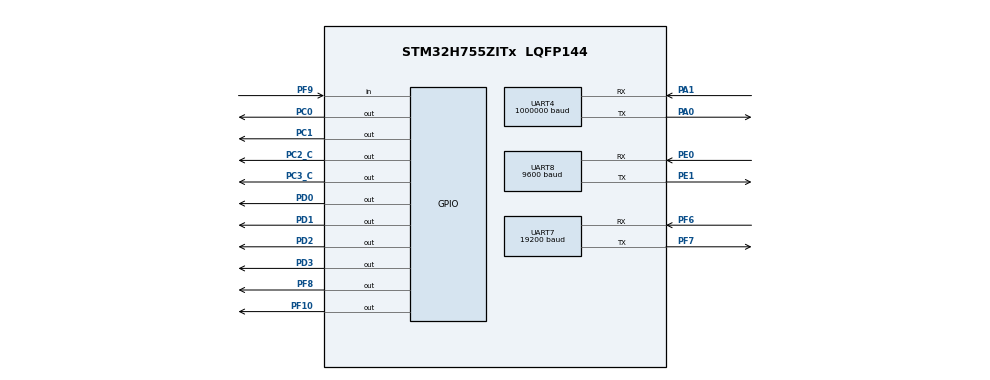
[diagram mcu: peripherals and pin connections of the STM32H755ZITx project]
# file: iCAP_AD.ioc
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CORTEX_M7.default_mode_Activation=1
CortexM4.IPs=CORTEX_M4\:I,FATFS_M4\:I,FREERTOS_M4\:I,IWDG2\:I,OPENAMP_M4\:I,PDM2PCM_M4\:I,PWR,RCC,RESMGR_UTILITY,SYS_M4\:I,USB_DEVICE_M4\:I,USB_HOST_M4\:I,VREFBUF,WWDG2\:I,GPIO,DMA,BDMA,MDMA,NVIC2\:I
CortexM7.IPs=CORTEX_M7\:I,FATFS_M7\:I,FREERTOS_M7\:I,IWDG1\:I,OPENAMP_M7\:I,PDM2PCM_M7\:I,PWR\:I,RCC\:I,RESMGR_UTILITY\:I,SYS\:I,USB_DEVICE_M7\:I,USB_HOST_M7\:I,VREFBUF\:I,WWDG1\:I,GPIO\:I,DMA\:I,BDMA\:I,MDMA\:I,NVIC1\:I,UART7\:I,UART4\:I,UART8\:I
CortexM7.Pins=PF8,PF9,PF10,PC0,PC1,PC2_C,PC3_C,PD0,PD1,PD2,PD3
Dma.Request0=UART4_RX
Dma.UART4_RX.0.Direction=DMA_PERIPH_TO_MEMORY
Dma.UART4_RX.0.EventEnable=DISABLE
Dma.UART4_RX.0.FIFOMode=DMA_FIFOMODE_DISABLE
Dma.UART4_RX.0.Instance=DMA1_Stream0
Dma.UART4_RX.0.MemDataAlignment=DMA_MDATAALIGN_BYTE
Dma.UART4_RX.0.MemInc=DMA_MINC_ENABLE
Dma.UART4_RX.0.Mode=DMA_CIRCULAR
Dma.UART4_RX.0.PeriphDataAlignment=DMA_PDATAALIGN_BYTE
Dma.UART4_RX.0.PeriphInc=DMA_PINC_DISABLE
Dma.UART4_RX.0.Polarity=HAL_DMAMUX_REQ_GEN_RISING
Dma.UART4_RX.0.Priority=DMA_PRIORITY_LOW
Dma.UART4_RX.0.RequestNumber=1
Dma.UART4_RX.0.SignalID=NONE
Dma.UART4_RX.0.SyncEnable=DISABLE
Dma.UART4_RX.0.SyncPolarity=HAL_DMAMUX_SYNC_NO_EVENT
Dma.UART4_RX.0.SyncRequestNumber=1
Dma.UART4_RX.0.SyncSignalID=NONE
Mcu.Family=STM32H7
Mcu.Name=STM32H755ZITx
Mcu.Package=LQFP144
NVIC1.DMA1_Stream0_IRQn=true\:0\:0\:false\:false\:true\:false\:true\:true
NVIC1.PriorityGroup=NVIC_PRIORITYGROUP_4
NVIC1.UART4_IRQn=true\:0\:0\:false\:false\:true\:true\:true\:true
NVIC1.UART7_IRQn=true\:0\:0\:false\:false\:true\:true\:true\:true
NVIC1.UART8_IRQn=true\:0\:0\:false\:false\:true\:true\:true\:true
NVIC2.PriorityGroup=NVIC_PRIORITYGROUP_4
PA0.Mode=Asynchronous
PA0.PinAttribute=CortexM7
PA0.Signal=UART4_TX
PA1.Mode=Asynchronous
PA1.PinAttribute=CortexM7
PA1.Signal=UART4_RX
PC0.PinAttribute=CortexM7
PC0.Signal=GPIO_Output
PC1.PinAttribute=CortexM7
PC1.Signal=GPIO_Output
PC2_C.PinAttribute=CortexM7
PC2_C.Signal=GPIO_Output
PC3_C.PinAttribute=CortexM7
PC3_C.Signal=GPIO_Output
PD0.PinAttribute=CortexM7
PD0.Signal=GPIO_Output
PD1.PinAttribute=CortexM7
PD1.Signal=GPIO_Output
PD2.PinAttribute=CortexM7
PD2.Signal=GPIO_Output
PD3.PinAttribute=CortexM7
PD3.Signal=GPIO_Output
PE0.Mode=Asynchronous
PE0.PinAttribute=CortexM7
PE0.Signal=UART8_RX
PE1.Mode=Asynchronous
PE1.PinAttribute=CortexM7
PE1.Signal=UART8_TX
PF10.PinAttribute=CortexM7
PF10.Signal=GPIO_Output
PF6.Mode=Asynchronous
PF6.PinAttribute=CortexM7
PF6.Signal=UART7_RX
PF7.Mode=Asynchronous
PF7.PinAttribute=CortexM7
PF7.Signal=UART7_TX
PF8.PinAttribute=CortexM7
PF8.Signal=GPIO_Output
PF9.PinAttribute=CortexM7
PF9.Signal=GPIO_Input
ProjectManager.HeapSize=M4-0x200,M7-0x200
ProjectManager.StackSize=M4-0x400,M7-0x400
ProjectManager.TargetToolchain=STM32CubeIDE
RCC.ADCFreq_Value=64500000
RCC.APB1Freq_Value=16000000
RCC.APB2Freq_Value=32000000
RCC.APB3Freq_Value=32000000
RCC.APB4Freq_Value=32000000
RCC.CortexFreq_Value=32000000
RCC.D2PPRE1=RCC_APB1_DIV2
RCC.HCLKFreq_Value=32000000
RCC.HSIDiv=RCC_PLLSAIDIVR_2
RCC.SYSCLKFreq_VALUE=32000000
RCC.USBFreq_Value=64500000
SYS.userName=SYS_M7
UART4.BaudRate=1000000
UART4.Mode=MODE_RX
UART7.BaudRate=19200
UART8.BaudRate=9600
VP_SYS_M4_VS_Systick.Mode=SysTick
board=custom

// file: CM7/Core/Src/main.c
/* USER CODE BEGIN Header */
/**
  ******************************************************************************
  * @file           : main.c
  * @brief          : Main program body
  ******************************************************************************
  * @attention
  *
  * Copyright (c) 2026 STMicroelectronics.
  * All rights reserved.
  *
  * This software is licensed under terms that can be found in the LICENSE file
  * in the root directory of this software component.
  * If no LICENSE file comes with this software, it is provided AS-IS.
  *
  ******************************************************************************
  */
/* USER CODE END Header */
#include "main.h"

/* USER CODE BEGIN Includes */
#include "imu.h"
#include "iridium.h"
#include "gnss.h"
#include "powercontrol.h"
#include "ssr.h"

/* USER CODE END Includes */

/* USER CODE BEGIN PD */

/* DUAL_CORE_BOOT_SYNC_SEQUENCE: Define for dual core boot synchronization    */
/*                             demonstration code based on hardware semaphore */
/* This define is present in both CM7/CM4 projects                            */
/* To comment when developping/debugging on a single core                     */
#define DUAL_CORE_BOOT_SYNC_SEQUENCE

#if defined(DUAL_CORE_BOOT_SYNC_SEQUENCE)
#ifndef HSEM_ID_0
#define HSEM_ID_0 (0U) /* HW semaphore 0*/
#endif
#endif /* DUAL_CORE_BOOT_SYNC_SEQUENCE */

/* USER CODE END PD */

UART_HandleTypeDef huart4;
UART_HandleTypeDef huart7;
UART_HandleTypeDef huart8;
DMA_HandleTypeDef hdma_uart4_rx;

void SystemClock_Config(void);
static void MPU_Config(void);
static void MX_GPIO_Init(void);
static void MX_DMA_Init(void);
static void MX_UART7_Init(void);
static void MX_UART4_Init(void);
static void MX_UART8_Init(void);

int main(void)
{

/* USER CODE BEGIN Boot_Mode_Sequence_0 */
#if defined(DUAL_CORE_BOOT_SYNC_SEQUENCE)
  int32_t timeout;
#endif /* DUAL_CORE_BOOT_SYNC_SEQUENCE */
/* USER CODE END Boot_Mode_Sequence_0 */

  /* MPU Configuration--------------------------------------------------------*/
  MPU_Config();

/* USER CODE BEGIN Boot_Mode_Sequence_1 */
#if defined(DUAL_CORE_BOOT_SYNC_SEQUENCE)
  /* Wait until CPU2 boots and enters in stop mode or timeout*/
  timeout = 0xFFFF;
  while((__HAL_RCC_GET_FLAG(RCC_FLAG_D2CKRDY) != RESET) && (timeout-- > 0));
  if ( timeout < 0 )
  {
  //Error_Handler();
  }
#endif /* DUAL_CORE_BOOT_SYNC_SEQUENCE */
/* USER CODE END Boot_Mode_Sequence_1 */
  /* MCU Configuration--------------------------------------------------------*/

  /* Reset of all peripherals, Initializes the Flash interface and the Systick. */
  HAL_Init();

  /* Configure the system clock */
  SystemClock_Config();
/* USER CODE BEGIN Boot_Mode_Sequence_2 */
#if defined(DUAL_CORE_BOOT_SYNC_SEQUENCE)
/* When system initialization is finished, Cortex-M7 will release Cortex-M4 by means of
HSEM notification */
/*HW semaphore Clock enable*/
__HAL_RCC_HSEM_CLK_ENABLE();
/*Take HSEM */
HAL_HSEM_FastTake(HSEM_ID_0);
/*Release HSEM in order to notify the CPU2(CM4)*/
HAL_HSEM_Release(HSEM_ID_0,0);
/* wait until CPU2 wakes up from stop mode */
timeout = 0xFFFF;
while((__HAL_RCC_GET_FLAG(RCC_FLAG_D2CKRDY) == RESET) && (timeout-- > 0));
if ( timeout < 0 )
{
//Error_Handler();
}
#endif /* DUAL_CORE_BOOT_SYNC_SEQUENCE */
/* USER CODE END Boot_Mode_Sequence_2 */

  /* Initialize all configured peripherals */
  MX_GPIO_Init();
  MX_DMA_Init();
  MX_UART7_Init();
  MX_UART4_Init();
  MX_UART8_Init();
  /* USER CODE BEGIN 2 */
  /* Power rails are controlled explicitly in main. */
  PowerControl_SetGNSS(true);
  PowerControl_SetIMU(true);
  PowerControl_SetIridium(true);
  HAL_Delay(1000);

  IMU_Init(&huart4);

  Iridium_Init(&huart7);
  GNSS_Init(&huart8);
  SSR_Init();
  (void)SSR_SetMode(SSR_CH0, SSR_MODE_BLINK_500MS);
  (void)SSR_SetMode(SSR_CH1, SSR_MODE_BLINK_500MS);
  (void)SSR_SetMode(SSR_CH2, SSR_MODE_BLINK_500MS);
  (void)SSR_SetMode(SSR_CH3, SSR_MODE_BLINK_500MS);

  /* USER CODE END 2 */

  /* Infinite loop */
  /* USER CODE BEGIN WHILE */
  while (1)
  {
    IMU_Data_t imu_data;
    const uint8_t *iridium_rx_data = NULL;
    GNSS_BestPosA_t gnss_bestposa;

    /* USER CODE END WHILE */

    /* USER CODE BEGIN 3 */
    if (IMU_PollNewData(&imu_data))
    {
      /* New NAV data received: use imu_data here. */
      (void)imu_data;
    }

    if (Iridium_PollNewData(&iridium_rx_data))
    {
      uint16_t iridium_rx_len = Iridium_GetRxLength();
      /* Inspect iridium_rx_data in debugger (example: "AT\r\r\nOK\r\n"). */
      (void)iridium_rx_data;
      (void)iridium_rx_len;
    }

    uint8_t ii = 0;
    if (GNSS_Process(&gnss_bestposa))
    {
      /* New BESTPOSA parsed data received: use gnss_bestposa here. */
      (void)gnss_bestposa;
      ii = 1;
    }

    SSR_Process();

  }
  /* USER CODE END 3 */
}

void SystemClock_Config(void)
{
  RCC_OscInitTypeDef RCC_OscInitStruct = {0};
  RCC_ClkInitTypeDef RCC_ClkInitStruct = {0};

  /** Supply configuration update enable
  */
  HAL_PWREx_ConfigSupply(PWR_DIRECT_SMPS_SUPPLY);

  /** Configure the main internal regulator output voltage
  */
  __HAL_PWR_VOLTAGESCALING_CONFIG(PWR_REGULATOR_VOLTAGE_SCALE3);

  while(!__HAL_PWR_GET_FLAG(PWR_FLAG_VOSRDY)) {}

  /** Initializes the RCC Oscillators according to the specified parameters
  * in the RCC_OscInitTypeDef structure.
  */
  RCC_OscInitStruct.OscillatorType = RCC_OSCILLATORTYPE_HSI;
  RCC_OscInitStruct.HSIState = RCC_HSI_DIV2;
  RCC_OscInitStruct.HSICalibrationValue = RCC_HSICALIBRATION_DEFAULT;
  RCC_OscInitStruct.PLL.PLLState = RCC_PLL_NONE;
  if (HAL_RCC_OscConfig(&RCC_OscInitStruct) != HAL_OK)
  {
    Error_Handler();
  }

  /** Initializes the CPU, AHB and APB buses clocks
  */
  RCC_ClkInitStruct.ClockType = RCC_CLOCKTYPE_HCLK|RCC_CLOCKTYPE_SYSCLK
                              |RCC_CLOCKTYPE_PCLK1|RCC_CLOCKTYPE_PCLK2
                              |RCC_CLOCKTYPE_D3PCLK1|RCC_CLOCKTYPE_D1PCLK1;
  RCC_ClkInitStruct.SYSCLKSource = RCC_SYSCLKSOURCE_HSI;
  RCC_ClkInitStruct.SYSCLKDivider = RCC_SYSCLK_DIV1;
  RCC_ClkInitStruct.AHBCLKDivider = RCC_HCLK_DIV1;
  RCC_ClkInitStruct.APB3CLKDivider = RCC_APB3_DIV1;
  RCC_ClkInitStruct.APB1CLKDivider = RCC_APB1_DIV2;
  RCC_ClkInitStruct.APB2CLKDivider = RCC_APB2_DIV1;
  RCC_ClkInitStruct.APB4CLKDivider = RCC_APB4_DIV1;

  if (HAL_RCC_ClockConfig(&RCC_ClkInitStruct, FLASH_LATENCY_0) != HAL_OK)
  {
    Error_Handler();
  }
}

static void MX_UART4_Init(void)
{

  huart4.Instance = UART4;
  huart4.Init.BaudRate = 1000000;
  huart4.Init.WordLength = UART_WORDLENGTH_8B;
  huart4.Init.StopBits = UART_STOPBITS_1;
  huart4.Init.Parity = UART_PARITY_NONE;
  huart4.Init.Mode = UART_MODE_RX;
  huart4.Init.HwFlowCtl = UART_HWCONTROL_NONE;
  huart4.Init.OverSampling = UART_OVERSAMPLING_16;
  huart4.Init.OneBitSampling = UART_ONE_BIT_SAMPLE_DISABLE;
  huart4.Init.ClockPrescaler = UART_PRESCALER_DIV1;
  huart4.AdvancedInit.AdvFeatureInit = UART_ADVFEATURE_NO_INIT;
  if (HAL_UART_Init(&huart4) != HAL_OK)
  {
    Error_Handler();
  }
  if (HAL_UARTEx_SetTxFifoThreshold(&huart4, UART_TXFIFO_THRESHOLD_1_8) != HAL_OK)
  {
    Error_Handler();
  }
  if (HAL_UARTEx_SetRxFifoThreshold(&huart4, UART_RXFIFO_THRESHOLD_1_8) != HAL_OK)
  {
    Error_Handler();
  }
  if (HAL_UARTEx_DisableFifoMode(&huart4) != HAL_OK)
  {
    Error_Handler();
  }
  /* USER CODE BEGIN UART4_Init 2 */
  /* Keep default ORE behavior to expose real UART4 overrun conditions. */
  CLEAR_BIT(huart4.Instance->CR3, USART_CR3_OVRDIS);

  /* USER CODE END UART4_Init 2 */

}

static void MX_UART7_Init(void)
{

  huart7.Instance = UART7;
  huart7.Init.BaudRate = 19200;
  huart7.Init.WordLength = UART_WORDLENGTH_8B;
  huart7.Init.StopBits = UART_STOPBITS_1;
  huart7.Init.Parity = UART_PARITY_NONE;
  huart7.Init.Mode = UART_MODE_TX_RX;
  huart7.Init.HwFlowCtl = UART_HWCONTROL_NONE;
  huart7.Init.OverSampling = UART_OVERSAMPLING_16;
  huart7.Init.OneBitSampling = UART_ONE_BIT_SAMPLE_DISABLE;
  huart7.Init.ClockPrescaler = UART_PRESCALER_DIV1;
  huart7.AdvancedInit.AdvFeatureInit = UART_ADVFEATURE_NO_INIT;
  if (HAL_UART_Init(&huart7) != HAL_OK)
  {
    Error_Handler();
  }
  if (HAL_UARTEx_SetTxFifoThreshold(&huart7, UART_TXFIFO_THRESHOLD_1_8) != HAL_OK)
  {
    Error_Handler();
  }
  if (HAL_UARTEx_SetRxFifoThreshold(&huart7, UART_RXFIFO_THRESHOLD_1_8) != HAL_OK)
  {
    Error_Handler();
  }
  if (HAL_UARTEx_DisableFifoMode(&huart7) != HAL_OK)
  {
    Error_Handler();
  }

}

static void MX_UART8_Init(void)
{

  huart8.Instance = UART8;
  huart8.Init.BaudRate = 9600;
  huart8.Init.WordLength = UART_WORDLENGTH_8B;
  huart8.Init.StopBits = UART_STOPBITS_1;
  huart8.Init.Parity = UART_PARITY_NONE;
  huart8.Init.Mode = UART_MODE_TX_RX;
  huart8.Init.HwFlowCtl = UART_HWCONTROL_NONE;
  huart8.Init.OverSampling = UART_OVERSAMPLING_16;
  huart8.Init.OneBitSampling = UART_ONE_BIT_SAMPLE_DISABLE;
  huart8.Init.ClockPrescaler = UART_PRESCALER_DIV1;
  huart8.AdvancedInit.AdvFeatureInit = UART_ADVFEATURE_NO_INIT;
  if (HAL_UART_Init(&huart8) != HAL_OK)
  {
    Error_Handler();
  }
  if (HAL_UARTEx_SetTxFifoThreshold(&huart8, UART_TXFIFO_THRESHOLD_1_8) != HAL_OK)
  {
    Error_Handler();
  }
  if (HAL_UARTEx_SetRxFifoThreshold(&huart8, UART_RXFIFO_THRESHOLD_1_8) != HAL_OK)
  {
    Error_Handler();
  }
  if (HAL_UARTEx_DisableFifoMode(&huart8) != HAL_OK)
  {
    Error_Handler();
  }

}

static void MX_DMA_Init(void)
{

  /* DMA controller clock enable */
  __HAL_RCC_DMA1_CLK_ENABLE();

  /* DMA interrupt init */
  /* DMA1_Stream0_IRQn interrupt configuration */
  HAL_NVIC_SetPriority(DMA1_Stream0_IRQn, 0, 0);
  HAL_NVIC_EnableIRQ(DMA1_Stream0_IRQn);

}

static void MX_GPIO_Init(void)
{
  GPIO_InitTypeDef GPIO_InitStruct = {0};

  /* GPIO Ports Clock Enable */
  __HAL_RCC_GPIOF_CLK_ENABLE();
  __HAL_RCC_GPIOC_CLK_ENABLE();
  __HAL_RCC_GPIOA_CLK_ENABLE();
  __HAL_RCC_GPIOD_CLK_ENABLE();
  __HAL_RCC_GPIOE_CLK_ENABLE();

  /*Configure GPIO pin Output Level */
  HAL_GPIO_WritePin(GPIOF, GPIO_PIN_8|GPIO_PIN_10, GPIO_PIN_RESET);

  /*Configure GPIO pin Output Level */
  HAL_GPIO_WritePin(GPIOC, GPIO_PIN_0|GPIO_PIN_1|GPIO_PIN_2|GPIO_PIN_3, GPIO_PIN_RESET);

  /*Configure GPIO pin Output Level */
  HAL_GPIO_WritePin(GPIOD, GPIO_PIN_0|GPIO_PIN_1|GPIO_PIN_2|GPIO_PIN_3, GPIO_PIN_RESET);

  /*Configure GPIO pins : PF8 PF10 */
  GPIO_InitStruct.Pin = GPIO_PIN_8|GPIO_PIN_10;
  GPIO_InitStruct.Mode = GPIO_MODE_OUTPUT_PP;
  GPIO_InitStruct.Pull = GPIO_NOPULL;
  GPIO_InitStruct.Speed = GPIO_SPEED_FREQ_LOW;
  HAL_GPIO_Init(GPIOF, &GPIO_InitStruct);

  /*Configure GPIO pin : PF9 */
  GPIO_InitStruct.Pin = GPIO_PIN_9;
  GPIO_InitStruct.Mode = GPIO_MODE_INPUT;
  GPIO_InitStruct.Pull = GPIO_NOPULL;
  HAL_GPIO_Init(GPIOF, &GPIO_InitStruct);

  /*Configure GPIO pins : PC0 PC1 PC2 PC3 */
  GPIO_InitStruct.Pin = GPIO_PIN_0|GPIO_PIN_1|GPIO_PIN_2|GPIO_PIN_3;
  GPIO_InitStruct.Mode = GPIO_MODE_OUTPUT_PP;
  GPIO_InitStruct.Pull = GPIO_NOPULL;
  GPIO_InitStruct.Speed = GPIO_SPEED_FREQ_LOW;
  HAL_GPIO_Init(GPIOC, &GPIO_InitStruct);

  /*Configure GPIO pins : PD0 PD1 PD2 PD3 */
  GPIO_InitStruct.Pin = GPIO_PIN_0|GPIO_PIN_1|GPIO_PIN_2|GPIO_PIN_3;
  GPIO_InitStruct.Mode = GPIO_MODE_OUTPUT_PP;
  GPIO_InitStruct.Pull = GPIO_NOPULL;
  GPIO_InitStruct.Speed = GPIO_SPEED_FREQ_LOW;
  HAL_GPIO_Init(GPIOD, &GPIO_InitStruct);

  /*AnalogSwitch Config */
  HAL_SYSCFG_AnalogSwitchConfig(SYSCFG_SWITCH_PC2, SYSCFG_SWITCH_PC2_CLOSE);

  /*AnalogSwitch Config */
  HAL_SYSCFG_AnalogSwitchConfig(SYSCFG_SWITCH_PC3, SYSCFG_SWITCH_PC3_CLOSE);

}

/* USER CODE BEGIN 4 */

void HAL_UART_RxCpltCallback(UART_HandleTypeDef *huart)
{
  if (huart->Instance == UART4)
  {
    /* Parsing runs in the IMU module main-loop poll path. */
    return;
  }

  if (huart->Instance == UART7)
  {
    Iridium_HandleRxCplt(huart);
    return;
  }

  if (huart->Instance == UART8)
  {
    GNSS_HandleRxCplt(huart);
  }
}

void HAL_UART_RxHalfCpltCallback(UART_HandleTypeDef *huart)
{
  if (huart->Instance == UART4)
  {
    /* Parsing runs in the IMU module main-loop poll path. */
    return;
  }
}

void HAL_UART_ErrorCallback(UART_HandleTypeDef *huart)
{
  if (huart->Instance == UART4)
  {
    IMU_HandleUartError(huart);
    return;
  }

  if (huart->Instance == UART7)
  {
    Iridium_HandleUartError(huart);
    return;
  }

  if (huart->Instance == UART8)
  {
    GNSS_HandleUartError(huart);
  }
}

/* USER CODE END 4 */

 /* MPU Configuration */

void MPU_Config(void)
{
  MPU_Region_InitTypeDef MPU_InitStruct = {0};

  /* Disables the MPU */
  HAL_MPU_Disable();

  /** Initializes and configures the Region and the memory to be protected
  */
  MPU_InitStruct.Enable = MPU_REGION_ENABLE;
  MPU_InitStruct.Number = MPU_REGION_NUMBER0;
  MPU_InitStruct.BaseAddress = 0x0;
  MPU_InitStruct.Size = MPU_REGION_SIZE_4GB;
  MPU_InitStruct.SubRegionDisable = 0x87;
  MPU_InitStruct.TypeExtField = MPU_TEX_LEVEL0;
  MPU_InitStruct.AccessPermission = MPU_REGION_NO_ACCESS;
  MPU_InitStruct.DisableExec = MPU_INSTRUCTION_ACCESS_DISABLE;
  MPU_InitStruct.IsShareable = MPU_ACCESS_SHAREABLE;
  MPU_InitStruct.IsCacheable = MPU_ACCESS_NOT_CACHEABLE;
  MPU_InitStruct.IsBufferable = MPU_ACCESS_NOT_BUFFERABLE;

  HAL_MPU_ConfigRegion(&MPU_InitStruct);
  /* Enables the MPU */
  HAL_MPU_Enable(MPU_PRIVILEGED_DEFAULT);

}

void Error_Handler(void)
{
  __disable_irq();
  while (1)
  {
  }
}
